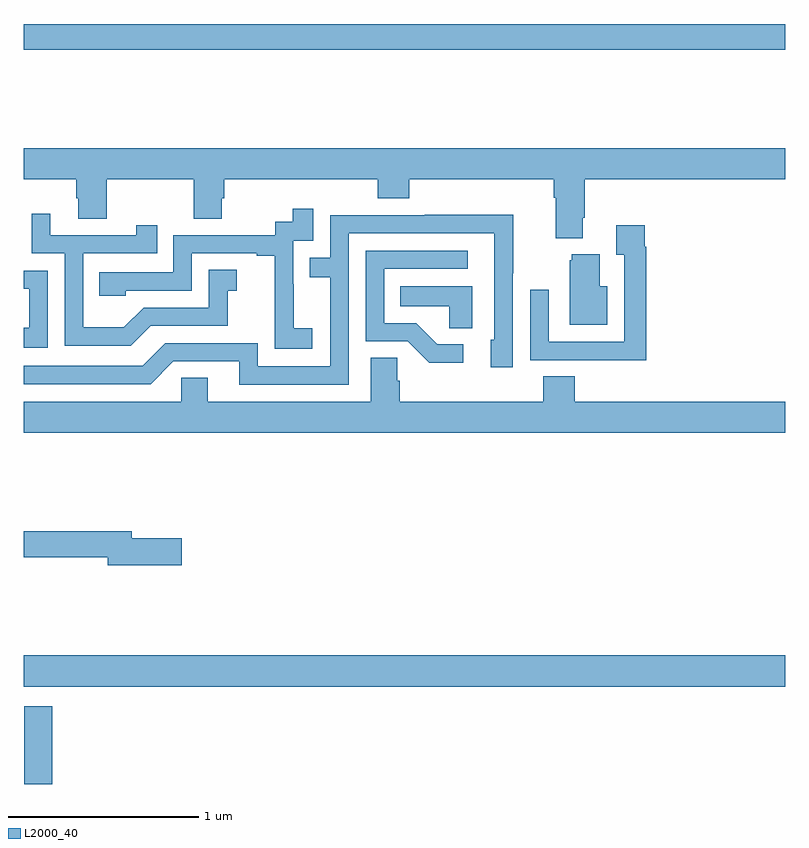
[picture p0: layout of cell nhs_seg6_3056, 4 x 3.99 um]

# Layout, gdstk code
import gdstk
lib = gdstk.Library(unit=1e-6, precision=1e-09)
def R(c, l, rs):  # rectangles x0, y0, x1, y1
    for r in rs: c.add(gdstk.rectangle(r[:2], r[2:], *l))
def P(c, l, *ps):  # polygons
    for p in ps: c.add(gdstk.Polygon(p, *l))
L2000_40 = (2000, 40)

nhs_seg6_3056 = lib.new_cell('nhs_seg6_3056')
R(nhs_seg6_3056, L2000_40, [(291.002,937.5,291.149,937.909), (291,938.012,295,938.176), (291,941.356,295,941.492)])
P(nhs_seg6_3056, L2000_40, [(293.935,940.474),(293.948,940.474),(293.948,940.676),(295,940.676),(295,940.84),(291,940.84),(291,940.676),(291.275,940.676),(291.275,940.578),(291.287,940.578),(291.287,940.468),(291.435,940.468),(291.435,940.676),(291.892,940.676),(291.892,940.468),(292.039,940.468),(292.039,940.578),(292.052,940.578),(292.052,940.676),(292.859,940.676),(292.859,940.577),(293.024,940.577),(293.024,940.676),(293.783,940.676),(293.783,940.58),(293.795,940.58),(293.795,940.367),(293.935,940.367)],
  [(292.516,939.895),(292.418,939.895),(292.418,940.124),(292.416,940.124),(292.416,940.353),(292.521,940.353),(292.521,940.522),(292.413,940.522),(292.413,940.452),(292.32,940.452),(292.32,940.383),(291.786,940.383),(291.786,940.188),(291.397,940.188),(291.397,940.065),(291.537,940.065),(291.537,940.092),(291.882,940.092),(291.882,940.287),(292.223,940.287),(292.223,940.275),(292.319,940.275),(292.319,939.991),(292.318,939.991),(292.318,939.785),(292.516,939.785)],
  [(291.667,939.906),(292.071,939.906),(292.071,940.091),(292.12,940.091),(292.12,940.201),(291.972,940.201),(291.972,940.002),(291.63,940.002),(291.526,939.898),(291.312,939.898),(291.312,940.287),(291.701,940.287),(291.701,940.435),(291.59,940.435),(291.59,940.383),(291.139,940.383),(291.139,940.495),(291.042,940.495),(291.042,940.287),(291.216,940.287),(291.216,939.801),(291.562,939.801)],
  [(292.707,940.392),(293.472,940.392),(293.472,939.834),(293.453,939.834),(293.453,939.69),(293.568,939.69),(293.568,940.183),(293.571,940.183),(293.571,940.49),(293.107,940.49),(293.107,940.488),(292.611,940.488),(292.611,940.263),(292.501,940.263),(292.501,940.162),(292.611,940.162),(292.611,939.693),(292.23,939.693),(292.23,939.816),(291.744,939.816),(291.624,939.696),(291,939.696),(291,939.6),(291.666,939.6),(291.786,939.72),(292.133,939.72),(292.133,939.597),(292.707,939.597)],
  [(294.269,940.322),(294.262,940.322),(294.262,940.435),(294.113,940.435),(294.113,940.279),(294.153,940.279),(294.153,939.822),(293.757,939.822),(293.757,940.096),(293.661,940.096),(293.661,939.726),(293.977,939.726),(293.977,939.725),(294.269,939.725)],
  [(293.308,939.81),(293.173,939.81),(293.062,939.921),(292.893,939.921),(292.893,940.206),(293.332,940.206),(293.332,940.302),(292.797,940.302),(292.797,939.825),(293.016,939.825),(293.129,939.713),(293.308,939.713)],
  [(294.064,940.114),(294.025,940.114),(294.025,940.282),(293.879,940.282),(293.879,940.251),(293.867,940.251),(293.867,939.911),(294.064,939.911)],
  [(291.126,940.197),(291,940.197),(291,940.101),(291.029,940.101),(291.029,939.897),(291,939.897),(291,939.792),(291.126,939.792)],
  [(293.356,940.114),(292.978,940.114),(292.978,940.01),(293.235,940.01),(293.235,939.895),(293.356,939.895)],
  [(295,939.508),(293.894,939.508),(293.894,939.641),(293.729,939.641),(293.729,939.508),(292.976,939.508),(292.976,939.617),(292.962,939.617),(292.962,939.74),(292.823,939.74),(292.823,939.508),(291.967,939.508),(291.967,939.635),(291.828,939.635),(291.828,939.508),(291,939.508),(291,939.344),(295,939.344)],
  [(291.829,938.792),(291.568,938.792),(291.568,938.828),(291,938.828),(291,938.692),(291.44,938.692),(291.44,938.65),(291.829,938.65)])

lib.write_gds('nhs_seg6_3056.gds')
